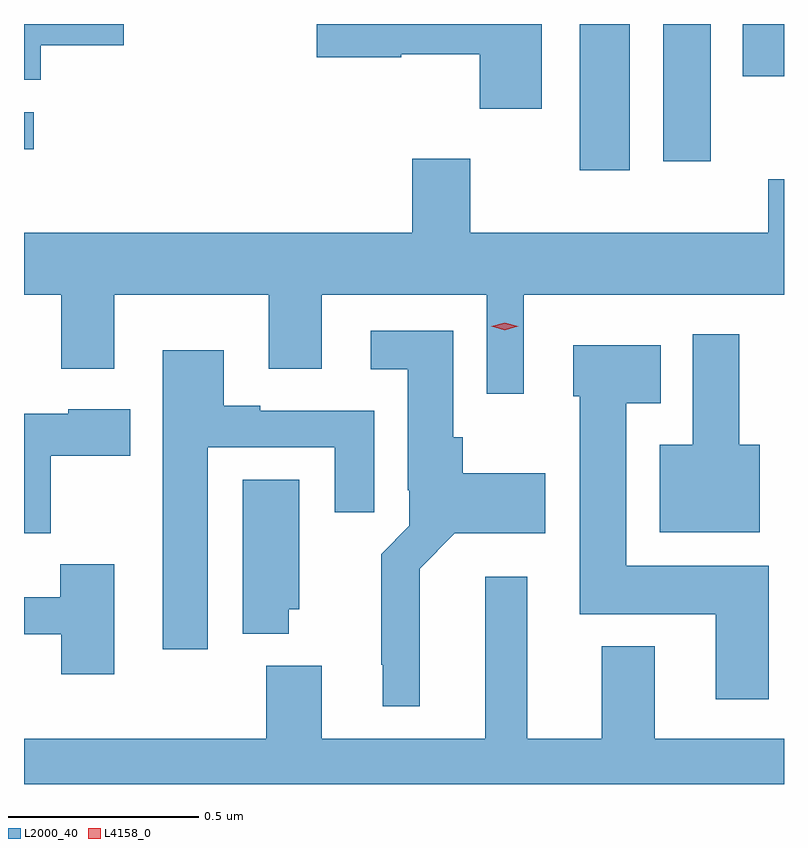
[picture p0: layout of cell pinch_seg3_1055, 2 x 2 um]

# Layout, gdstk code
import gdstk
lib = gdstk.Library(unit=1e-6, precision=1e-09)
def R(c, l, rs):  # rectangles x0, y0, x1, y1
    for r in rs: c.add(gdstk.rectangle(r[:2], r[2:], *l))
def P(c, l, *ps):  # polygons
    for p in ps: c.add(gdstk.Polygon(p, *l))
L2000_40 = (2000, 40)
L4158_0 = (4158, 0)

pinch_seg3_1055 = lib.new_cell('pinch_seg3_1055')
R(pinch_seg3_1055, L2000_40, [(619.13,673.272,619.261,673.657), (619.349,673.296,619.474,673.657), (617.667,673.327,617.692,673.425), (619.559,673.52,619.667,673.657)])
P(pinch_seg3_1055, L2000_40, [(619.03,673.657),(618.438,673.657),(618.438,673.57),(618.66,673.57),(618.66,673.577),(618.866,673.577),(618.866,673.434),(619.03,673.434)],
  [(617.711,673.601),(617.929,673.601),(617.929,673.657),(617.667,673.657),(617.667,673.51),(617.711,673.51)],
  [(618.982,672.944),(619.667,672.944),(619.667,673.249),(619.625,673.249),(619.625,673.108),(618.841,673.108),(618.841,673.303),(618.689,673.303),(618.689,673.108),(617.667,673.108),(617.667,672.944),(617.765,672.944),(617.765,672.75),(617.905,672.75),(617.905,672.944),(618.311,672.944),(618.311,672.75),(618.451,672.75),(618.451,672.944),(618.885,672.944),(618.885,672.684),(618.982,672.684)],
  [(618.709,672.224),(618.801,672.317),(619.039,672.317),(619.039,672.475),(618.822,672.475),(618.822,672.57),(618.796,672.57),(618.796,672.85),(618.579,672.85),(618.579,672.749),(618.677,672.749),(618.677,672.43),(618.681,672.43),(618.681,672.336),(618.607,672.262),(618.607,671.971),(618.611,671.971),(618.611,671.861),(618.709,671.861)],
  [(619.603,672.55),(619.549,672.55),(619.549,672.841),(619.427,672.841),(619.427,672.55),(619.34,672.55),(619.34,672.32),(619.603,672.32)],
  [(619.627,672.232),(619.252,672.232),(619.252,672.659),(619.342,672.659),(619.342,672.811),(619.112,672.811),(619.112,672.678),(619.13,672.678),(619.13,672.104),(619.487,672.104),(619.487,671.88),(619.627,671.88)],
  [(618.151,672.543),(618.485,672.543),(618.485,672.372),(618.589,672.372),(618.589,672.639),(618.289,672.639),(618.289,672.652),(618.193,672.652),(618.193,672.799),(618.032,672.799),(618.032,672.012),(618.151,672.012)],
  [(617.738,672.521),(617.947,672.521),(617.947,672.643),(617.784,672.643),(617.784,672.631),(617.667,672.631),(617.667,672.317),(617.738,672.317)],
  [(618.364,672.117),(618.391,672.117),(618.391,672.458),(618.242,672.458),(618.242,672.053),(618.364,672.053)],
  [(617.905,672.235),(617.763,672.235),(617.763,672.148),(617.667,672.148),(617.667,672.051),(617.765,672.051),(617.765,671.946),(617.905,671.946)],
  [(619.667,671.776),(619.327,671.776),(619.327,672.019),(619.187,672.019),(619.187,671.776),(618.991,671.776),(618.991,672.202),(618.881,672.202),(618.881,671.776),(618.451,671.776),(618.451,671.968),(618.304,671.968),(618.304,671.776),(617.667,671.776),(617.667,671.657),(619.667,671.657)])
P(pinch_seg3_1055, L4158_0, [(618.932,672.851),(618.897,672.861),(618.897,672.861),(618.897,672.861),(618.932,672.871),(618.968,672.861),(618.968,672.861),(618.968,672.861)])

lib.write_gds('pinch_seg3_1055.gds')
